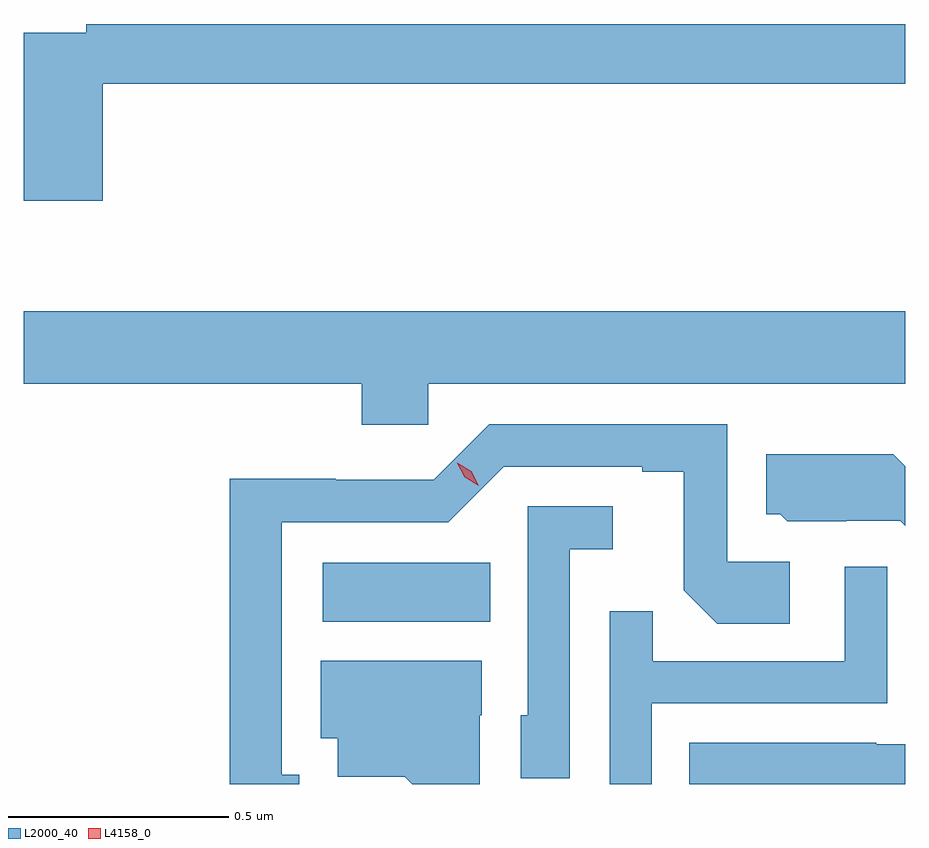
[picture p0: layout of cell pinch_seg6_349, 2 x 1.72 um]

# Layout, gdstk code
import gdstk
lib = gdstk.Library(unit=1e-6, precision=1e-09)
def R(c, l, rs):  # rectangles x0, y0, x1, y1
    for r in rs: c.add(gdstk.rectangle(r[:2], r[2:], *l))
def P(c, l, *ps):  # polygons
    for p in ps: c.add(gdstk.Polygon(p, *l))
L2000_40 = (2000, 40)
L4158_0 = (4158, 0)

pinch_seg6_349 = lib.new_cell('pinch_seg6_349')
R(pinch_seg6_349, L2000_40, [(746.988,944.132,747.368,944.266)])
P(pinch_seg6_349, L2000_40, [(746.489,945.352),(748.31,945.352),(748.31,945.488),(746.452,945.488),(746.452,945.468),(746.31,945.468),(746.31,945.087),(746.489,945.087)],
  [(747.228,944.672),(748.31,944.672),(748.31,944.836),(746.31,944.836),(746.31,944.672),(747.077,944.672),(747.077,944.579),(747.228,944.579)],
  [(746.935,943.785),(746.896,943.785),(746.896,944.358),(747.273,944.358),(747.399,944.484),(747.713,944.484),(747.713,944.472),(747.807,944.472),(747.807,944.204),(747.883,944.128),(748.048,944.128),(748.048,944.268),(747.906,944.268),(747.906,944.58),(747.366,944.58),(747.24,944.454),(747.018,944.454),(747.018,944.456),(746.778,944.456),(746.778,943.764),(746.935,943.764)],
  [(748.31,944.485),(748.283,944.512),(747.995,944.512),(747.995,944.376),(748.026,944.376),(748.042,944.36),(748.176,944.36),(748.176,944.361),(748.299,944.361),(748.31,944.35)],
  [(747.549,944.297),(747.646,944.297),(747.646,944.394),(747.453,944.394),(747.453,943.92),(747.438,943.92),(747.438,943.777),(747.549,943.777)],
  [(747.735,943.947),(748.269,943.947),(748.269,944.257),(748.173,944.257),(748.173,944.043),(747.737,944.043),(747.737,944.156),(747.639,944.156),(747.639,943.764),(747.735,943.764)],
  [(747.345,943.92),(747.349,943.92),(747.349,944.044),(746.984,944.044),(746.984,943.868),(747.023,943.868),(747.023,943.781),(747.175,943.781),(747.192,943.764),(747.345,943.764)],
  [(748.31,943.854),(748.244,943.854),(748.244,943.858),(747.82,943.858),(747.82,943.764),(748.31,943.764)])
P(pinch_seg6_349, L4158_0, [(747.342,944.441),(747.311,944.46),(747.293,944.492),(747.293,944.493),(747.293,944.493),(747.325,944.474),(747.342,944.441),(747.342,944.441)])

lib.write_gds('pinch_seg6_349.gds')
